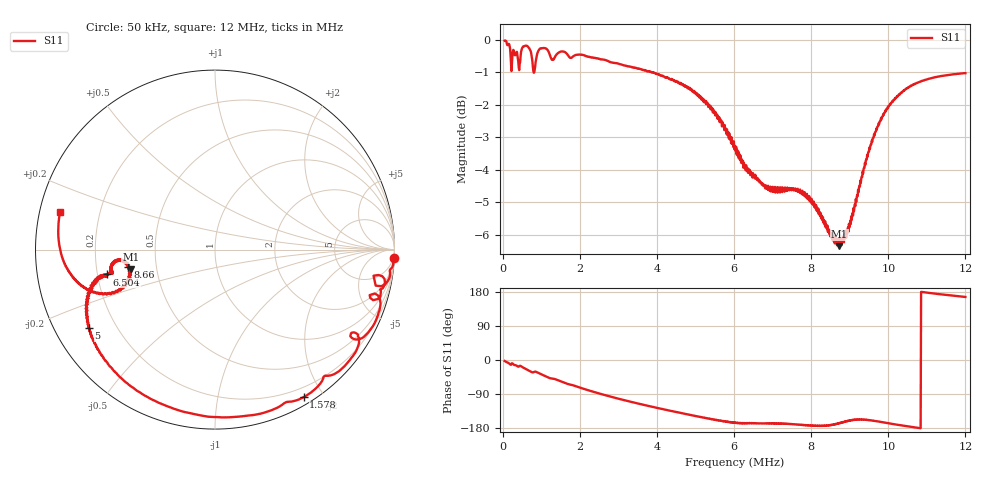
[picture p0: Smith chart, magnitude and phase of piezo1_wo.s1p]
# Hz S RI R 50
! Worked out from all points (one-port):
!   1010 points, 50 kHz to 12 MHz, reference 50 ohm
!   lowest |S11| = -6.3 dB at 8.731 MHz (marker M1), VSWR 2.86, Z = 17.7 - j5.04 ohm
!   |S11| at or under -10 dB: nowhere
!   S11 on the Smith chart (normalised r, x): 50 kHz: 3, -43; 1.578 MHz: 0.09, -1.76; 5 MHz: 0.10, -0.28; 6.504 MHz: 0.24, -0.11; 8.66 MHz: 0.34, -0.09; 12 MHz: 0.06, +0.12
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50000  0.9957 -0.046
156500  0.9753 -0.1426
488100  0.9207 -0.2869
582900  0.9029 -0.3785
713200  0.837 -0.4793
855300  0.7957 -0.4723
950000  0.7898 -0.5573
1151300  0.6869 -0.6802
1554043  0.508 -0.814
1577743  0.4939 -0.8219
2276443  0.138 -0.9302
3046186  -0.2109 -0.8924
3839729  -0.4821 -0.7516
4538429  -0.639 -0.5759
5000372  -0.7027 -0.4381
5497772  -0.7179 -0.2942
6030715  -0.664 -0.1628
6504415  -0.6019 -0.1383
7522858  -0.5783 -0.1102
8221658  -0.5386 -0.0544
8659801  -0.4859 -0.096
8730901  -0.4692 -0.1095
9015101  -0.4952 -0.1809
9299301  -0.5622 -0.2435
9595401  -0.661 -0.244
1.000994e7  -0.771 -0.179
1.050734e7  -0.8405 -0.0715
1.199959e7  -0.8633 0.2097
